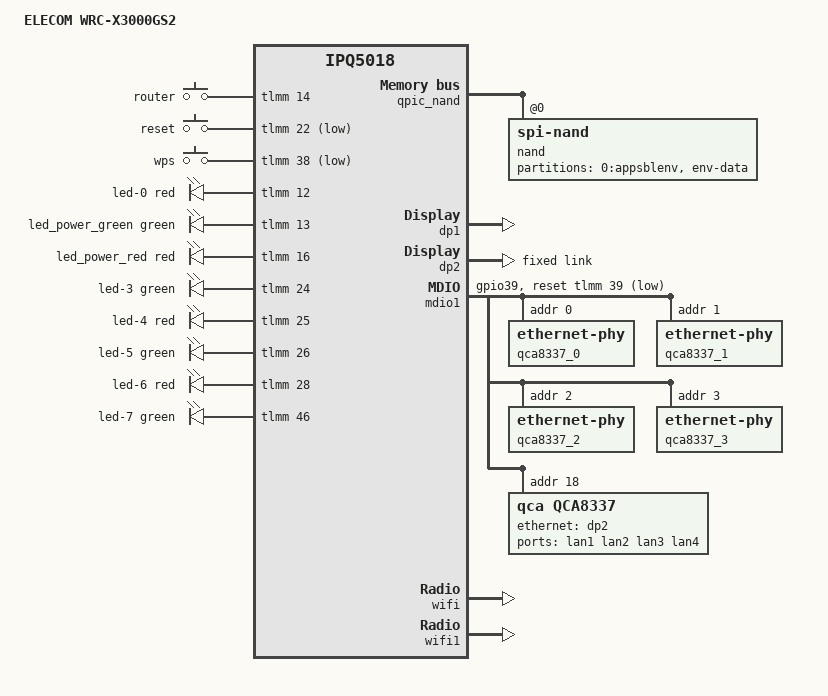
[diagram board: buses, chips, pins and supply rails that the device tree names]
// SPDX-License-Identifier: GPL-2.0-or-later OR MIT

/dts-v1/;

#include "ipq5018.dtsi"
#include "ipq5018-ess.dtsi"
#include "ipq5018-nss.dtsi"
#include "ipq5018-common.dtsi"

#include <dt-bindings/gpio/gpio.h>
#include <dt-bindings/input/input.h>
#include <dt-bindings/leds/common.h>

/ {
	model = "ELECOM WRC-X3000GS2";
	compatible = "elecom,wrc-x3000gs2", "qcom,ipq5018";

	aliases {
		serial0 = &blsp1_uart1;
		led-boot = &led_power_green;
		led-failsafe = &led_power_red;
		led-running = &led_power_green;
		led-upgrade = &led_power_green;
		label-mac-device = <&dp1>;
	};

	chosen {
		stdout-path = "serial0:115200n8";
		bootargs-append = " root=/dev/ubiblock0_1";
	};

	keys {
		compatible = "gpio-keys";

		switch-router {
			label = "router";
			gpios = <&tlmm 14 GPIO_ACTIVE_HIGH>;
			linux,code = <BTN_0>;
			linux,input-type = <EV_SW>;
		};

		reset-button {
			label = "reset";
			gpios = <&tlmm 22 GPIO_ACTIVE_LOW>;
			linux,code = <KEY_RESTART>;
		};

		wps-button {
			label = "wps";
			gpios = <&tlmm 38 GPIO_ACTIVE_LOW>;
			linux,code = <KEY_WPS_BUTTON>;
		};
	};

	leds {
		compatible = "gpio-leds";

		led-0 {
			gpios = <&tlmm 12 GPIO_ACTIVE_HIGH>;
			color = <LED_COLOR_ID_RED>;
			function = LED_FUNCTION_WPS;
		};

		led_power_green: power-green {
			gpios = <&tlmm 13 GPIO_ACTIVE_HIGH>;
			color = <LED_COLOR_ID_GREEN>;
			function = LED_FUNCTION_POWER;
		};

		led_power_red: power-red {
			gpios = <&tlmm 16 GPIO_ACTIVE_HIGH>;
			color = <LED_COLOR_ID_RED>;
			function = LED_FUNCTION_POWER;
		};

		led-3 {
			gpios = <&tlmm 24 GPIO_ACTIVE_HIGH>;
			color = <LED_COLOR_ID_GREEN>;
			function = LED_FUNCTION_WLAN_5GHZ;
			linux,default-trigger = "phy1radio";
		};

		led-4 {
			gpios = <&tlmm 25 GPIO_ACTIVE_HIGH>;
			color = <LED_COLOR_ID_RED>;
			function = LED_FUNCTION_WLAN_5GHZ;
		};

		led-5 {
			gpios = <&tlmm 26 GPIO_ACTIVE_HIGH>;
			color = <LED_COLOR_ID_GREEN>;
			function = LED_FUNCTION_WLAN_2GHZ;
			linux,default-trigger = "phy0radio";
		};

		led-6 {
			gpios = <&tlmm 28 GPIO_ACTIVE_HIGH>;
			color = <LED_COLOR_ID_RED>;
			function = LED_FUNCTION_WLAN_2GHZ;
		};

		led-7 {
			gpios = <&tlmm 46 GPIO_ACTIVE_HIGH>;
			color = <LED_COLOR_ID_GREEN>;
			function = LED_FUNCTION_WAN;
		};
	};
};

&qpic_nand {
	status = "okay";

	pinctrl-0 = <&qpic_pins>;
	pinctrl-names = "default";

	nand@0 {
		compatible = "spi-nand";
		reg = <0>;

		nand-ecc-engine = <&qpic_nand>;
		nand-ecc-strength = <4>;
		nand-ecc-step-size = <512>;
		nand-bus-width = <8>;

		partitions {
			compatible = "qcom,smem-part";
			#address-cells = <1>;
			#size-cells = <1>;

			partition-0-appsblenv {
				compatible = "fixed-partitions";
				#address-cells = <1>;
				#size-cells = <1>;

				label = "0:appsblenv";

				partition@0 {
					label = "env-data";
					reg = <0x00000000 0x00040000>;

					nvmem-layout {
						compatible = "u-boot,env";
						#address-cells = <1>;
						#size-cells = <1>;

						macaddr_appsblenv_ethaddr: ethaddr {
							compatible = "mac-base";
							#nvmem-cell-cells = <1>;
						};
					};
				};
			};
		};
	};
};

&dp1 {
	status = "okay";

	label = "wan";
	nvmem-cells = <&macaddr_appsblenv_ethaddr 2>;
	nvmem-cell-names = "mac-address";
};

&dp2 {
	status = "okay";

	nvmem-cells = <&macaddr_appsblenv_ethaddr 0>;
	nvmem-cell-names = "mac-address";

	fixed-link {
		speed = <1000>;
		full-duplex;
	};
};

&mdio1 {
	status = "okay";

	pinctrl-0 = <&mdio1_pins>, <&switch_reset_pins>;
	pinctrl-names = "default";
	reset-gpios = <&tlmm 39 GPIO_ACTIVE_LOW>;

	qca8337_0: ethernet-phy@0 {
		reg = <0>;
	};

	qca8337_1: ethernet-phy@1 {
		reg = <1>;
	};

	qca8337_2: ethernet-phy@2 {
		reg = <2>;
	};

	qca8337_3: ethernet-phy@3 {
		reg = <3>;
	};

	qca8337: ethernet-switch@18 {
		compatible = "qca,qca8337";
		#address-cells = <1>;
		#size-cells = <0>;
		reg = <18>;

		ports {
			#address-cells = <1>;
			#size-cells = <0>;

			port@1 {
				reg = <1>;
				label = "lan1";
				phy-handle = <&qca8337_0>;
			};

			port@2 {
				reg = <2>;
				label = "lan2";
				phy-handle = <&qca8337_1>;
			};

			port@3 {
				reg = <3>;
				label = "lan3";
				phy-handle = <&qca8337_2>;
			};

			port@4 {
				reg = <4>;
				label = "lan4";
				phy-handle = <&qca8337_3>;
			};

			port@6 {
				reg = <6>;
				phy-mode = "sgmii";
				ethernet = <&dp2>;
				qca,sgmii-enable-pll;

				fixed-link {
					speed = <1000>;
					full-duplex;
				};
			};
		};
	};
};

&tlmm {
	switch_reset_pins: switch-reset-pins {
		pins = "gpio39";
		function = "gpio";
		drive-strength = <8>;
		bias-pull-down;
	};
};

&q6v5_wcss {
	boot-args = <0x02 0x04 0x02 0x12 0x00 0x00>;
};

&wifi {
	status = "okay";

	qcom,rproc = <&q6_wcss_pd1>;
	qcom,userpd-subsys-name = "q6v5_wcss_userpd1";
	qcom,ath11k-calibration-variant = "ELECOM-WRC-X3000GS2";
};

&wifi1 {
	status = "okay";

	qcom,rproc = <&q6_wcss_pd2>;
	qcom,userpd-subsys-name = "q6v5_wcss_userpd2";
	qcom,ath11k-calibration-variant = "ELECOM-WRC-X3000GS2";
};
